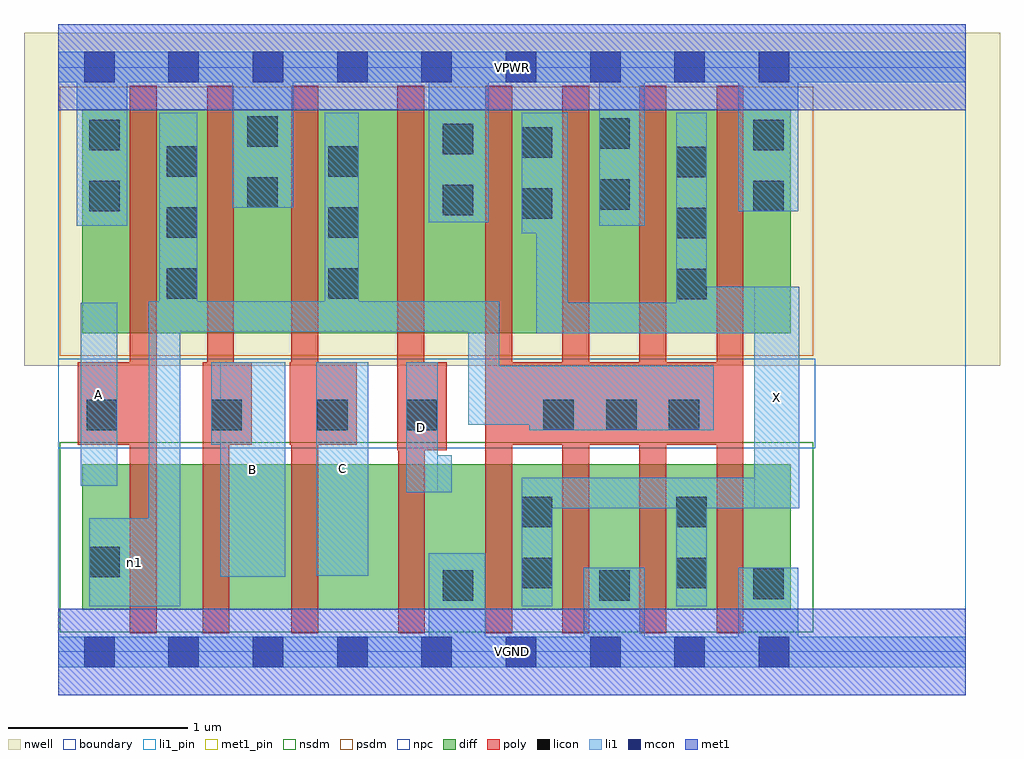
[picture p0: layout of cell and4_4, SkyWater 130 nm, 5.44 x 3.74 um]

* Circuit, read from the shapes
.subckt and4_4 A B C D VGND VPWR X n1
XM1 n2 A n1 VSUBS sky130_fd_pr__nfet_01v8 w=0.81 l=0.15
XM2 n3 B n2 VSUBS sky130_fd_pr__nfet_01v8 w=0.81 l=0.15
XM3 n4 C n3 VSUBS sky130_fd_pr__nfet_01v8 w=0.81 l=0.15
XM4 VGND D n4 VSUBS sky130_fd_pr__nfet_01v8 w=0.81 l=0.15
XM5 X n1 VGND VSUBS sky130_fd_pr__nfet_01v8 w=0.81 l=0.15 m=4
XM6 n1 A VPWR n5 sky130_fd_pr__pfet_01v8 w=1.25 l=0.15
XM7 VPWR B n1 n5 sky130_fd_pr__pfet_01v8 w=1.25 l=0.15
XM8 n1 C VPWR n5 sky130_fd_pr__pfet_01v8 w=1.25 l=0.15
XM9 VPWR D n1 n5 sky130_fd_pr__pfet_01v8 w=1.25 l=0.15
XM10 X n1 VPWR n5 sky130_fd_pr__pfet_01v8 w=1.25 l=0.15 m=4
.ends

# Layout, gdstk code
import gdstk
lib = gdstk.Library(unit=1e-6, precision=1e-09)
def R(c, l, rs):  # rectangles x0, y0, x1, y1
    for r in rs: c.add(gdstk.rectangle(r[:2], r[2:], *l))
def A(c, l, x, y, w, h, nx, ny, dx, dy):  # array of equal rectangles
    R(c, l, [(x+i*dx, y+j*dy, x+i*dx+w, y+j*dy+h) for i in range(nx) for j in range(ny)])
nwell = (64, 20)
diff = (65, 20)
poly = (66, 20)
licon = (66, 44)
li1_pin = (67, 16)
li1 = (67, 20)
mcon = (67, 44)
met1_pin = (68, 16)
met1 = (68, 20)
nsdm = (93, 44)
psdm = (94, 20)
npc = (95, 20)
boundary = (235, 4)

and4_4 = lib.new_cell('and4_4')
R(and4_4, nwell, [(-0.19,1.595,5.25,3.45), (0,1.595,5.06,3.45)])
R(and4_4, diff, [(0.135,0.235,4.085,1.045), (0.135,1.775,4.085,3.025)])
A(and4_4, poly, 2.38, 0.105, 0.15, 3.05, 4, 1, 0.43, 0)
R(and4_4, poly, [(0.4,0.105,0.55,3.155), (0.805,0.105,0.955,1.615), (1.3,0.105,1.45,3.155), (1.895,0.105,2.045,1.615), (1.89,1.125,2.04,3.155), (1.89,1.125,2.165,1.615), (0.11,1.155,0.55,1.615), (0.805,1.155,1.08,1.615), (0.83,1.155,0.98,3.155), (1.29,1.155,1.665,1.615), (2.38,1.155,3.82,1.615)])
A(and4_4, licon, 2.705, 1.235, 0.17, 0.17, 3, 1, 0.35, 0)
A(and4_4, licon, 3.445, 1.965, 0.17, 0.17, 1, 3, 0, 0.34)
A(and4_4, licon, 0.605, 1.97, 0.17, 0.17, 1, 3, 0, 0.34)
A(and4_4, licon, 1.505, 1.97, 0.17, 0.17, 1, 3, 0, 0.34)
R(and4_4, licon, [(2.145,0.285,2.315,0.455), (3.015,0.285,3.185,0.455), (3.875,0.295,4.045,0.465), (2.585,0.355,2.755,0.525), (3.445,0.355,3.615,0.525), (0.175,0.415,0.345,0.585), (2.585,0.695,2.755,0.865), (3.445,0.695,3.615,0.865), (0.16,1.235,0.33,1.405), (0.855,1.235,1.025,1.405), (1.445,1.235,1.615,1.405), (1.94,1.235,2.11,1.405), (2.585,2.415,2.755,2.585), (2.145,2.435,2.315,2.605), (0.175,2.455,0.345,2.625), (3.875,2.455,4.045,2.625), (3.015,2.465,3.185,2.635), (1.055,2.475,1.225,2.645), (2.585,2.755,2.755,2.925), (2.145,2.775,2.315,2.945), (0.175,2.795,0.345,2.965), (3.875,2.795,4.045,2.965), (3.015,2.805,3.185,2.975), (1.055,2.815,1.225,2.985)])
R(and4_4, li1_pin, [(0.905,0.42,1.265,1.615), (1.44,0.425,1.73,1.615), (3.88,0.8,4.13,2.035), (1.94,0.89,2.115,1.615), (0.125,0.925,0.33,1.945)])
R(and4_4, li1, [(0,-0.085,5.06,0.085), (2.065,-0.085,2.38,0.55), (2.93,-0.085,3.27,0.47), (3.79,-0.085,4.125,0.47), (0.175,0.255,0.68,0.745), (0.505,0.255,0.68,1.955), (2.585,0.255,2.755,0.97), (3.445,0.255,3.615,0.97), (0.905,0.42,1.265,1.615), (1.44,0.425,1.73,1.615), (2.585,0.8,4.13,0.97), (3.88,0.8,4.13,2.035), (1.94,0.89,2.115,1.615), (1.94,0.89,2.195,1.095), (0.125,0.925,0.33,1.945), (0.855,1.155,1.265,1.615), (2.625,1.235,3.655,1.595), (2.285,1.265,3.655,1.595), (2.285,1.265,2.46,1.955), (2.665,1.775,4.13,1.945), (2.665,1.775,2.84,3.005), (3.445,1.775,3.615,3.005), (3.445,1.775,4.13,2.035), (0.505,1.785,2.46,1.955), (0.565,1.785,0.775,3.005), (1.485,1.785,1.675,3.005), (2.585,2.335,2.84,3.005), (0.105,2.375,0.385,3.345), (3.015,2.375,3.27,3.345), (2.065,2.395,2.4,3.345), (3.79,2.455,4.125,3.345), (0.97,2.475,1.31,3.345), (0,3.175,5.06,3.345)])
A(and4_4, mcon, 0.145, -0.085, 0.17, 0.17, 9, 2, 0.47, 3.26)
R(and4_4, met1_pin, [(0,-0.24,5.06,0.24), (0,3.02,5.06,3.5)])
R(and4_4, met1, [(0,-0.24,5.06,0.24), (0,3.02,5.06,3.5)])
R(and4_4, nsdm, [(0.01,0.11,4.21,1.17)])
R(and4_4, psdm, [(0.01,1.65,4.21,3.15)])
R(and4_4, npc, [(0,1.135,4.22,1.635)])
R(and4_4, boundary, [(0,0,5.06,3.26)])
and4_4.add(gdstk.Label('A', (0.227,1.435), layer=67, texttype=5))
and4_4.add(gdstk.Label('B', (1.085,1.017), layer=67, texttype=5))
and4_4.add(gdstk.Label('C', (1.585,1.02), layer=67, texttype=5))
and4_4.add(gdstk.Label('D', (2.027,1.252), layer=67, texttype=5))
and4_4.add(gdstk.Label('X', (4.005,1.417), layer=67, texttype=5))
and4_4.add(gdstk.Label('n1', (0.427,0.5), layer=67, texttype=5))
and4_4.add(gdstk.Label('VPWR', (2.53,3.26), layer=68, texttype=5))
and4_4.add(gdstk.Label('VGND', (2.53,0), layer=68, texttype=5))
and4_4.add(gdstk.Label('A', (0.227,1.435), layer=67, texttype=16))
and4_4.add(gdstk.Label('B', (1.085,1.017), layer=67, texttype=16))
and4_4.add(gdstk.Label('C', (1.585,1.02), layer=67, texttype=16))
and4_4.add(gdstk.Label('D', (2.027,1.252), layer=67, texttype=16))
and4_4.add(gdstk.Label('X', (4.005,1.417), layer=67, texttype=16))
and4_4.add(gdstk.Label('VPWR', (2.53,3.26), layer=68, texttype=16))
and4_4.add(gdstk.Label('VGND', (2.53,0), layer=68, texttype=16))

lib.write_gds('and4_4.gds')
